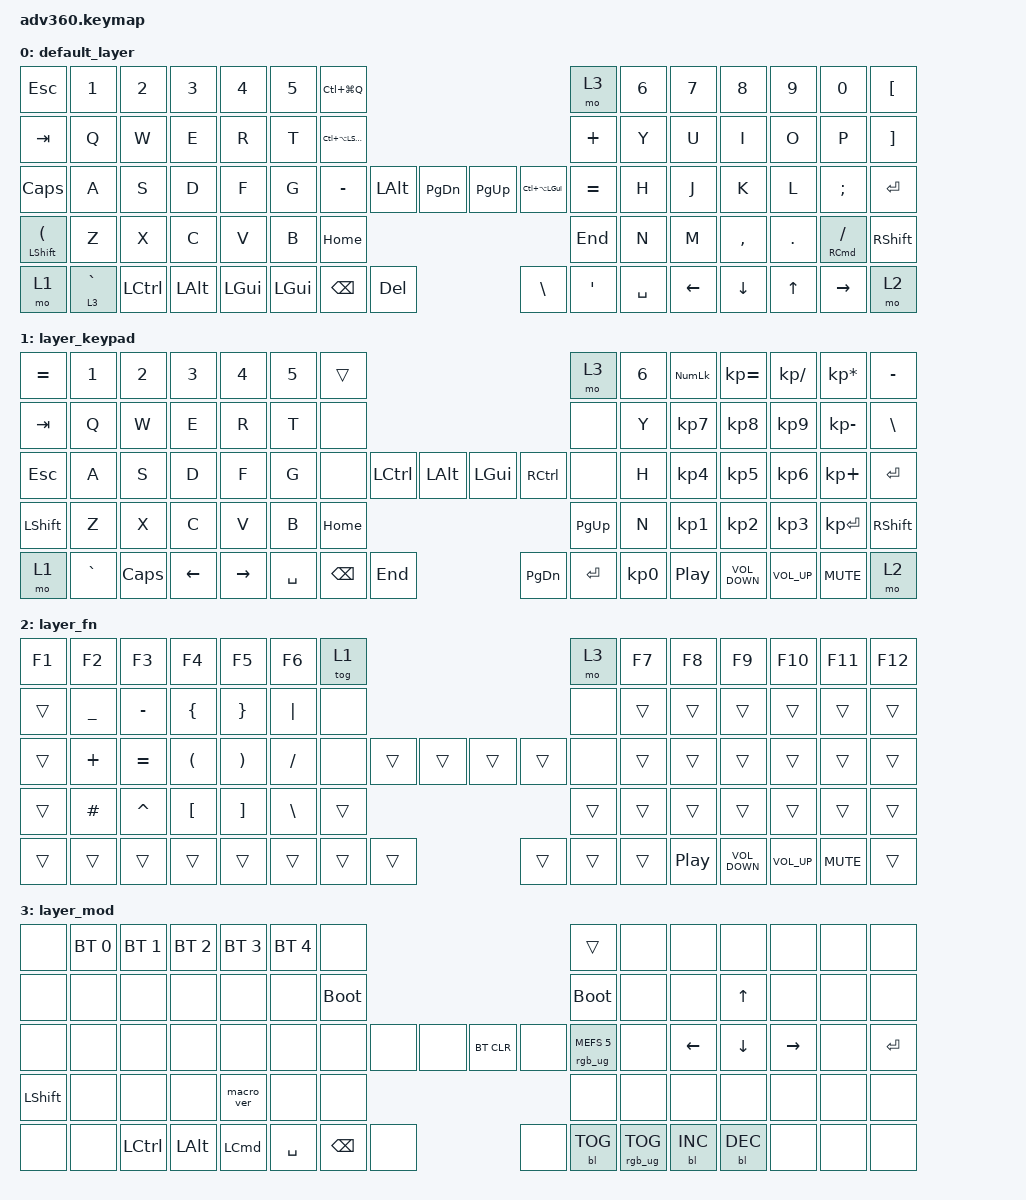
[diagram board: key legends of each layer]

/*
 * Copyright (c) 2020 The ZMK Contributors
 *
 * SPDX-License-Identifier: MIT
 */


/* THIS FILE WAS GENERATED!
 *
 * This file was generated automatically. You may or may not want to
 * edit it directly.
 */

#include <behaviors.dtsi>
#include <dt-bindings/zmk/keys.h>
#include <dt-bindings/zmk/bt.h>
#include <dt-bindings/zmk/rgb.h>
#include <dt-bindings/zmk/backlight.h>

/ {
  behaviors {
    #include "macros.dtsi"
    #include "version.dtsi"

    hm: homerow_mods {
        compatible = "zmk,behavior-hold-tap";
        label = "HOMEROW_MODS";
        #binding-cells = <2>;
        tapping-term-ms = <200>;
        quick_tap_ms = <175>;
        flavor = "tap-preferred";
        bindings = <&kp>, <&kp>;
    };
  };

    keymap {
        compatible = "zmk,keymap";


        default_layer {
            bindings = <
                     &kp ESC       &kp N1     &kp N2        &kp N3        &kp N4  &kp N5                    &kp LC(LG(Q))                                                                                                &mo 3  &kp N6    &kp N7     &kp N8   &kp N9          &kp N0   &kp LBKT
                     &kp TAB        &kp Q      &kp W         &kp E         &kp R   &kp T               &kp LC(LA(LSHIFT))                                                                                             &kp PLUS   &kp Y     &kp U      &kp I    &kp O           &kp P   &kp RBKT
                &kp CAPSLOCK        &kp A      &kp S         &kp D         &kp F   &kp G                        &kp MINUS          &kp LALT  &kp PAGE_DOWN                      &kp PG_UP      &kp LC(LA(LEFT_GUI))  &kp EQUAL   &kp H     &kp J      &kp K    &kp L        &kp SEMI  &kp ENTER
 &mt LSHIFT LEFT_PARENTHESIS        &kp Z      &kp X         &kp C         &kp V   &kp B                                                          &kp HOME                        &kp END                                        &kp N     &kp M  &kp COMMA  &kp DOT  &mt RCMD SLASH  &kp RSHFT
                       &mo 1  &lt 3 GRAVE  &kp LCTRL  &kp LEFT_ALT  &kp LEFT_GUI                                &kp LEFT_GUI  &kp BACKSPACE        &kp DEL                  &kp BACKSLASH  &kp SINGLE_QUOTE  &kp SPACE                  &kp LEFT   &kp DOWN   &kp UP       &kp RIGHT      &mo 2
            >;
        };

        layer_keypad {
            bindings = <
 &kp EQUAL     &kp N1    &kp N2    &kp N3     &kp N4  &kp N5               &trans                                                                     &mo 3  &kp N6        &kp KP_NUM       &kp KP_EQUAL    &kp KP_DIVIDE  &kp KP_MULTIPLY  &kp MINUS
   &kp TAB      &kp Q     &kp W     &kp E      &kp R   &kp T                &none                                                                     &none   &kp Y         &kp KP_N7          &kp KP_N8        &kp KP_N9     &kp KP_MINUS   &kp BSLH
   &kp ESC      &kp A     &kp S     &kp D      &kp F   &kp G                &none      &kp LCTRL  &kp LALT                   &kp LGUI  &kp RCTRL      &none   &kp H         &kp KP_N4          &kp KP_N5        &kp KP_N6      &kp KP_PLUS  &kp ENTER
 &kp LSHFT      &kp Z     &kp X     &kp C      &kp V   &kp B                                      &kp HOME                  &kp PG_UP                         &kp N         &kp KP_N1          &kp KP_N2        &kp KP_N3     &kp KP_ENTER  &kp RSHFT
     &mo 1  &kp GRAVE  &kp CAPS  &kp LEFT  &kp RIGHT                    &kp SPACE  &kp BACKSPACE   &kp END                  &kp PG_DN  &kp ENTER  &kp KP_N0          &kp C_PLAY_PAUSE  &kp C_VOLUME_DOWN  &kp C_VOLUME_UP       &kp C_MUTE      &mo 2
            >;
        };

        layer_fn {
            bindings = <
 &kp F1          &kp F2     &kp F3                &kp F4                 &kp F5    &kp F6            &tog 1                                                   &mo 3  &kp F7            &kp F8             &kp F9       &kp F10     &kp F11  &kp F12
 &trans  &kp UNDERSCORE  &kp MINUS        &kp LEFT_BRACE        &kp RIGHT_BRACE  &kp PIPE             &none                                                   &none  &trans            &trans             &trans        &trans      &trans   &trans
 &trans        &kp PLUS  &kp EQUAL  &kp LEFT_PARENTHESIS  &kp RIGHT_PARENTHESIS  &kp FSLH             &none  &trans  &trans                  &trans  &trans   &none  &trans            &trans             &trans        &trans      &trans   &trans
 &trans        &kp HASH  &kp CARET      &kp LEFT_BRACKET      &kp RIGHT_BRACKET  &kp BSLH                            &trans                  &trans                  &trans            &trans             &trans        &trans      &trans   &trans
 &trans          &trans     &trans                &trans                 &trans                      &trans  &trans  &trans                  &trans  &trans  &trans          &kp C_PLAY_PAUSE  &kp C_VOLUME_DOWN  &kp C_VOL_UP  &kp C_MUTE   &trans
            >;
        };

        layer_mod {
            bindings = <
      &none  &bt BT_SEL 0  &bt BT_SEL 1  &bt BT_SEL 2  &bt BT_SEL 3  &bt BT_SEL 4                  &none                                                                                 &trans   &none           &none           &none            &none   &none      &none
      &none         &none         &none         &none         &none         &none            &bootloader                                                                            &bootloader   &none           &none    &kp UP_ARROW            &none   &none      &none
      &none         &none         &none         &none         &none         &none                  &none          &none   &none                  &bt BT_CLR       &none  &rgb_ug RGB_MEFS_CMD 5   &none  &kp LEFT_ARROW  &kp DOWN_ARROW  &kp RIGHT_ARROW   &none  &kp ENTER
 &kp LSHIFT         &none         &none         &none    &macro_ver         &none                                         &none                       &none                                       &none           &none           &none            &none   &none      &none
      &none         &none     &kp LCTRL  &kp LEFT_ALT      &kp LCMD                            &kp SPACE  &kp BACKSPACE   &none                       &none  &bl BL_TOG         &rgb_ug RGB_TOG              &bl BL_INC      &bl BL_DEC            &none   &none      &none
            >;
        };

    };
};
